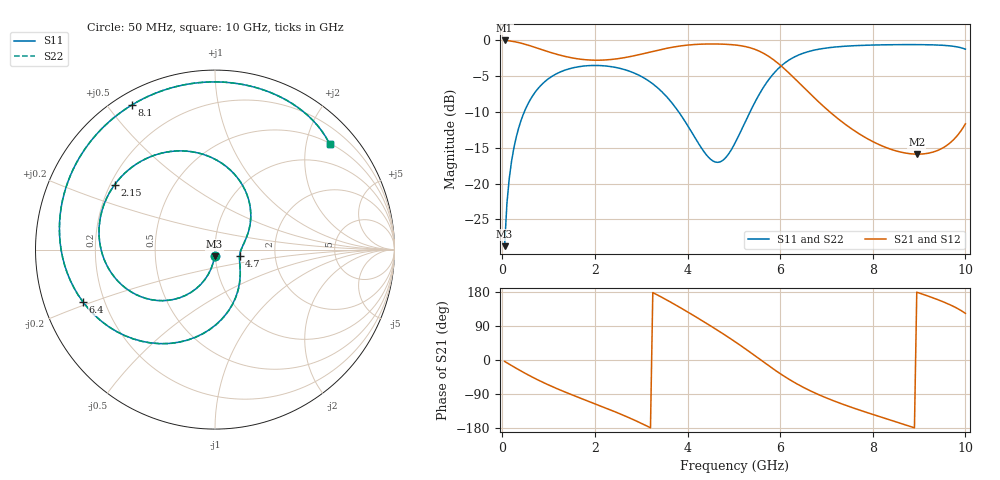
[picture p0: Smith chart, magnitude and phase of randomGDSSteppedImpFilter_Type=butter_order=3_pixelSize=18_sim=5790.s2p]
! freq	dB(S11)	phase(S11)	dB(S12)	phase(S12)
!  dB(S21)	phase(S21)	dB(S22)	phase(S22)
!S-par simulation data
#  GHz  S  DB  R 50
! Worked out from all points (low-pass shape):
!   200 points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, 50 MHz to 10 GHz, reference 50 ohm
!   highest |S21| = -0.01 dB at 50 MHz (marker M1); lowest = -15.9 dB at 8.95 GHz (marker M2)
!   |S21| within 3 dB of the highest: start of sweep to 5.918 GHz
!   lowest |S11| = -28.7 dB at 50 MHz (marker M3), VSWR 1.08, Z = 49.6 - j3.62 ohm
!   |S11| at or under -10 dB: start of sweep to 474.9 MHz; 3.81 GHz to 5.349 GHz (1.539 GHz wide, 33.6 % of centre)
!   |S22| runs from -28.7 to -0.6 dB; largest |S21 - S12| = 0
!   S11 on the Smith chart (normalised r, x): 50 MHz: 0.99, -0.07; 2.15 GHz: 0.22, +0.28; 4.7 GHz: 1.31, -0.10; 6.4 GHz: 0.12, -0.19; 8.1 GHz: 0.05, +0.58; 10 GHz: 0.52, +2.47
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0.05  -28.75 -93.8  -0.01 -3.7  -0.01 -3.7  -28.75 -93.8
0.1  -22.77 -97.7  -0.03 -7.4  -0.03 -7.4  -22.77 -97.7
0.2  -16.89 -105.1  -0.11 -14.7  -0.11 -14.7  -16.89 -105.1
0.5  -9.61 -126.0  -0.56 -35.5  -0.56 -35.5  -9.61 -126.0
1  -5.34 -156.4  -1.60 -65.9  -1.60 -65.9  -5.34 -156.4
1.75  -3.59 165.9  -2.67 -103.7  -2.67 -103.7  -3.59 165.9
2.15  -3.53 147.0  -2.76 -122.7  -2.76 -122.7  -3.53 147.0
2.8  -4.43 114.4  -2.21 -155.8  -2.21 -155.8  -4.43 114.4
3.4  -6.89 79.3  -1.32 168.4  -1.32 168.4  -6.89 79.3
3.75  -9.46 56.3  -0.87 144.8  -0.87 144.8  -9.46 56.3
4.15  -13.47 28.3  -0.58 116.0  -0.58 116.0  -13.47 28.4
4.7  -16.98 -14.6  -0.51 74.4  -0.51 74.4  -16.98 -14.3
5.05  -14.03 -45.2  -0.66 46.3  -0.66 46.3  -14.03 -44.9
5.6  -6.97 -94.2  -1.66 -1.6  -1.66 -1.6  -6.97 -94.0
6  -3.69 -128.6  -3.45 -36.0  -3.45 -36.0  -3.69 -128.5
6.4  -2.04 -158.3  -5.88 -65.6  -5.88 -65.6  -2.04 -158.2
6.7  -1.41 -176.9  -7.79 -84.1  -7.79 -84.1  -1.41 -176.8
7.3  -0.86 152.7  -11.20 -114.4  -11.20 -114.4  -0.86 152.8
8.1  -0.64 119.7  -14.45 -147.6  -14.45 -147.6  -0.64 119.8
8.35  -0.61 110.3  -15.12 -157.3  -15.12 -157.3  -0.61 110.3
8.95  -0.59 87.8  -15.89 179.0  -15.89 179.0  -0.59 87.9
10  -1.23 42.5  -11.66 123.1  -11.66 123.1  -1.23 42.7
